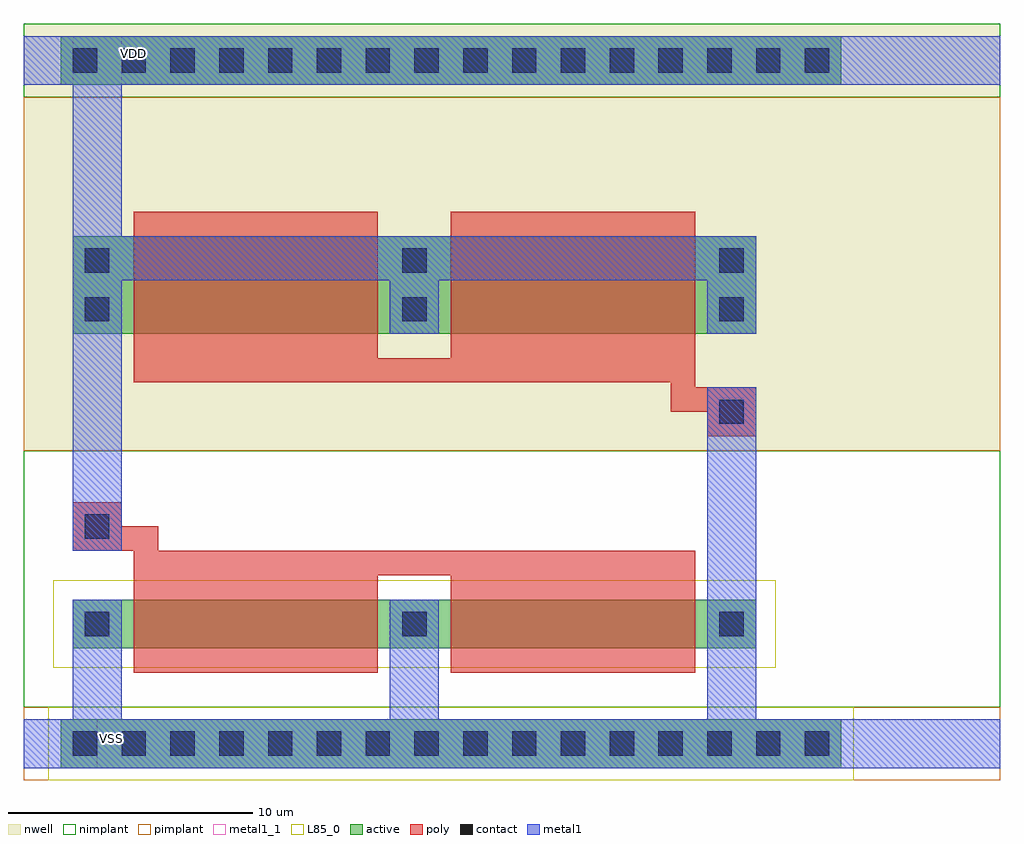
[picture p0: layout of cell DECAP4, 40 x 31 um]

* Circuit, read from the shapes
.subckt DECAP4 VDD VSS
M1 VSS VDD VSS VSS nfet w=2u l=10u m=2
M2 VDD VSS VDD VDD pfet w=4u l=10u m=2
.ends

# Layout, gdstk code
import gdstk
lib = gdstk.Library(unit=1e-6, precision=5e-10)
def R(c, l, rs):  # rectangles x0, y0, x1, y1
    for r in rs: c.add(gdstk.rectangle(r[:2], r[2:], *l))
def A(c, l, x, y, w, h, nx, ny, dx, dy):  # array of equal rectangles
    R(c, l, [(x+i*dx, y+j*dy, x+i*dx+w, y+j*dy+h) for i in range(nx) for j in range(ny)])
active = (1, 0)
nwell = (2, 0)
poly = (3, 0)
nimplant = (4, 0)
pimplant = (5, 0)
contact = (6, 0)
metal1 = (7, 0)
metal1_1 = (7, 1)
L85_0 = (85, 0)

pmos4_cdns_4 = lib.new_cell('pmos4_CDNS_4')
R(pmos4_cdns_4, active, [(1,1,29,5)])
R(pmos4_cdns_4, nwell, [(0.2,0.2,29.8,5.8)])
R(pmos4_cdns_4, poly, [(3.5,0,13.5,6), (16.5,0,26.5,6), (3.6,5.5,13.4,5.9), (16.6,5.5,26.4,5.9)])
R(pmos4_cdns_4, pimplant, [(0,0,30,6)])
R(pmos4_cdns_4, contact, [(1.5,1.5,2.5,2.5), (14.5,1.5,15.5,2.5), (14.5,1.5,15.5,2.5), (27.5,1.5,28.5,2.5), (1.5,3.5,2.5,4.5), (14.5,3.5,15.5,4.5), (14.5,3.5,15.5,4.5), (27.5,3.5,28.5,4.5)])
A(pmos4_cdns_4, metal1, 1, 1, 2, 4, 3, 1, 13, 0)
R(pmos4_cdns_4, metal1, [(1.3,1.3,2.7,2.7), (27.3,1.3,28.7,2.7)])

nmos4_cdns_5 = lib.new_cell('nmos4_CDNS_5')
R(nmos4_cdns_5, active, [(1,1,29,3)])
R(nmos4_cdns_5, poly, [(3.5,0,13.5,4), (16.5,0,26.5,4), (3.6,3.4,13.4,3.9), (16.6,3.4,26.4,3.9)])
R(nmos4_cdns_5, nimplant, [(0,0,30,4)])
R(nmos4_cdns_5, contact, [(1.5,1.5,2.5,2.5), (14.5,1.5,15.5,2.5), (14.5,1.5,15.5,2.5), (27.5,1.5,28.5,2.5)])
A(nmos4_cdns_5, metal1, 1, 1, 2, 2, 3, 1, 13, 0)
R(nmos4_cdns_5, metal1, [(1.3,1.3,2.7,2.7), (27.3,1.3,28.7,2.7)])
R(nmos4_cdns_5, L85_0, [(0.2,0.2,29.8,3.8)])

m1_psub_cdns_1 = lib.new_cell('M1_PSUB_CDNS_1')
R(m1_psub_cdns_1, active, [(-16,-1,16,1)])
R(m1_psub_cdns_1, pimplant, [(-16.5,-1.5,16.5,1.5)])
A(m1_psub_cdns_1, contact, -15.5, -0.5, 1, 1, 16, 1, 2, 0)
R(m1_psub_cdns_1, metal1, [(-16,-1,16,1)])
R(m1_psub_cdns_1, L85_0, [(-16.5,-1.5,16.5,1.5)])

m1_nwell_cdns_2 = lib.new_cell('M1_NWELL_CDNS_2')
R(m1_nwell_cdns_2, active, [(-16,-1,16,1)])
R(m1_nwell_cdns_2, nwell, [(-16.5,-1.5,16.5,1.5)])
R(m1_nwell_cdns_2, nimplant, [(-16.5,-1.5,16.5,1.5)])
A(m1_nwell_cdns_2, contact, -15.5, -0.5, 1, 1, 16, 1, 2, 0)
R(m1_nwell_cdns_2, metal1, [(-16,-1,16,1)])

m1_po_cdns_3 = lib.new_cell('M1_PO_CDNS_3')
R(m1_po_cdns_3, poly, [(-1,-1,1,1)])
R(m1_po_cdns_3, contact, [(-0.5,-0.5,0.5,0.5)])
R(m1_po_cdns_3, metal1, [(-1,-1,1,1)])

decap4 = lib.new_cell('DECAP4')
R(decap4, nwell, [(0,12,40,29.5)])
R(decap4, poly, [(4.5,6.7,5.5,8.9), (5.1,6.9,27.5,7.9), (3.8,7.9,5.5,8.9), (26.5,13.6,28.2,14.6), (4.5,14.8,27.1,15.8)])
R(decap4, nimplant, [(0,1.5,40,12), (0,26.5,40,29.5)])
R(decap4, pimplant, [(0,-1.5,40,1.5), (0,12,40,26.5)])
R(decap4, metal1, [(0,-1,40,1), (15,-0.4,17,5.7), (28,-0.3,30,14.3), (2,0,4,4.6), (2,7.9,4,18.1), (2,16,4,28.5), (2,19,29.9,20.8), (0,27,40,29)])
R(decap4, metal1_1, [(1,-1,3,1), (2,27,4,29)])
decap4.add(gdstk.FlexPath([(27,15.8),(27,14.1)], 1, ends="flush", simple_path=True, layer=3, datatype=0))  # poly
decap4.add(gdstk.Reference(pmos4_cdns_4, (1,15.8)))
decap4.add(gdstk.Reference(nmos4_cdns_5, (1,2.9)))
decap4.add(gdstk.Reference(m1_psub_cdns_1, (17.5,0)))
decap4.add(gdstk.Reference(m1_nwell_cdns_2, (17.5,28)))
decap4.add(gdstk.Reference(m1_po_cdns_3, (29,13.6)))
decap4.add(gdstk.Reference(m1_po_cdns_3, (3,8.9)))
decap4.add(gdstk.Label('VSS', (3.6,0.2), layer=7, texttype=3))
decap4.add(gdstk.Label('VDD', (4.5,28.3), layer=7, texttype=3))

lib.write_gds('DECAP4.gds')
